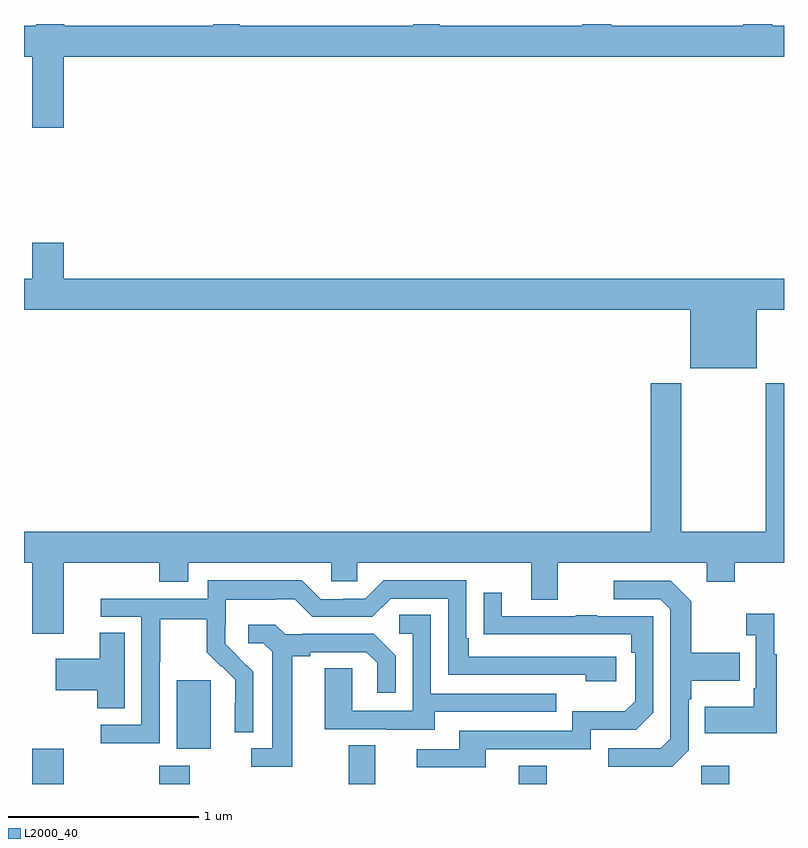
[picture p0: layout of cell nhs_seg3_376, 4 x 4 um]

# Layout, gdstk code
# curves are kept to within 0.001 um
import gdstk
lib = gdstk.Library(unit=1e-6, precision=1e-09)
def R(c, l, rs):  # rectangles x0, y0, x1, y1
    for r in rs: c.add(gdstk.rectangle(r[:2], r[2:], *l))
def P(c, l, *ps):  # polygons
    for p in ps: c.add(gdstk.Polygon(p, *l))
L2000_40 = (2000, 40)

nhs_seg3_376 = lib.new_cell('nhs_seg3_376')
R(nhs_seg3_376, L2000_40, [(129.044,718.4,129.208,718.585), (129.713,718.4,129.873,718.495), (130.709,718.4,130.849,718.604), (131.603,718.4,131.751,718.495), (132.564,718.4,132.711,718.495), (129.803,718.586,129.982,718.947)])
P(nhs_seg3_376, L2000_40, [(133,722.392),(132.937,722.392),(132.937,722.4),(132.785,722.4),(132.785,722.392),(132.092,722.392),(132.092,722.4),(131.939,722.4),(131.939,722.392),(131.187,722.392),(131.187,722.4),(131.049,722.4),(131.049,722.392),(130.135,722.392),(130.135,722.4),(129.995,722.4),(129.995,722.392),(129.211,722.392),(129.211,722.4),(129.064,722.4),(129.064,722.392),(129,722.392),(129,722.228),(129.044,722.228),(129.044,721.854),(129.208,721.854),(129.208,722.228),(133,722.228)],
  [(132.856,720.896),(133,720.896),(133,721.06),(129.208,721.06),(129.208,721.249),(129.044,721.249),(129.044,721.06),(129,721.06),(129,720.896),(132.506,720.896),(132.506,720.587),(132.856,720.587)],
  [(129.208,719.564),(129.713,719.564),(129.713,719.465),(129.865,719.465),(129.865,719.564),(130.617,719.564),(130.617,719.466),(130.755,719.466),(130.755,719.564),(131.669,719.564),(131.669,719.37),(131.809,719.37),(131.809,719.564),(132.593,719.564),(132.593,719.465),(132.741,719.465),(132.741,719.564),(133,719.564),(133,720.508),(132.904,720.508),(132.904,719.728),(132.459,719.728),(132.459,720.508),(132.299,720.508),(132.299,719.728),(129,719.728),(129,719.564),(129.044,719.564),(129.044,719.19),(129.208,719.19)],
  [(129.714,719.044),(129.717,719.044),(129.717,719.268),(129.961,719.268),(129.961,719.093),(130.038,719.016),(130.041,719.019),(130.112,718.949),(130.112,718.826),(130.11,718.826),(130.11,718.672),(130.206,718.672),(130.206,718.99),(130.06,719.138),(130.06,719.235),(130.062,719.235),(130.062,719.369),(130.325,719.369),(130.325,719.373),(130.425,719.373),(130.518,719.28),(130.833,719.28),(130.929,719.376),(131.232,719.376),(131.232,718.974),(131.957,718.974),(131.957,718.94),(132.118,718.94),(132.118,719.07),(131.341,719.07),(131.341,719.167),(131.328,719.167),(131.328,719.472),(130.893,719.472),(130.797,719.376),(130.679,719.376),(130.679,719.373),(130.563,719.373),(130.463,719.473),(129.966,719.473),(129.966,719.376),(129.405,719.376),(129.405,719.28),(129.618,719.28),(129.618,718.713),(129.405,718.713),(129.405,718.615),(129.714,718.615)],
  [(132.498,718.578),(132.498,718.847),(132.511,718.847),(132.511,718.943),(132.767,718.943),(132.767,719.091),(132.511,719.091),(132.511,719.363),(132.405,719.469),(132.105,719.469),(132.105,719.373),(132.348,719.373),(132.402,719.319),(132.402,718.638),(132.351,718.587),(132.075,718.587),(132.075,718.491),(132.411,718.491)],
  [(131.431,718.584),(131.982,718.584),(131.982,718.686),(132.222,718.686),(132.312,718.776),(132.312,719.283),(132.017,719.283),(132.017,719.288),(131.905,719.288),(131.905,719.283),(131.515,719.283),(131.515,719.407),(131.419,719.407),(131.419,719.188),(132.196,719.187),(132.196,719.09),(132.216,719.09),(132.216,718.836),(132.163,718.783),(131.886,718.783),(131.886,718.68),(131.291,718.68),(131.291,718.584),(131.067,718.584),(131.067,718.488),(131.431,718.488)],
  [(132.961,719.083),(132.949,719.083),(132.949,719.296),(132.801,719.296),(132.801,719.183),(132.852,719.183),(132.852,718.903),(132.84,718.903),(132.84,718.807),(132.583,718.807),(132.583,718.667),(132.961,718.667)],
  [(131.161,718.779),(131.801,718.779),(131.801,718.875),(131.142,718.875),(131.142,719.291),(130.974,719.291),(130.974,719.19),(131.046,719.19),(131.046,718.785),(130.728,718.785),(130.728,719.009),(130.583,719.009),(130.583,718.689),(130.907,718.689),(130.907,718.685),(131.161,718.685)],
  [(130.411,719.072),(130.507,719.072),(130.507,719.094),(130.802,719.094),(130.859,719.037),(130.859,718.881),(130.956,718.881),(130.956,719.074),(130.84,719.19),(130.468,719.19),(130.468,719.187),(130.374,719.187),(130.322,719.239),(130.179,719.239),(130.179,719.142),(130.26,719.142),(130.307,719.095),(130.307,718.587),(130.197,718.587),(130.197,718.491),(130.411,718.491)],
  [(129.529,719.195),(129.398,719.195),(129.398,719.059),(129.168,719.059),(129.168,718.894),(129.386,718.894),(129.386,718.798),(129.529,718.798)])

lib.write_gds('nhs_seg3_376.gds')
